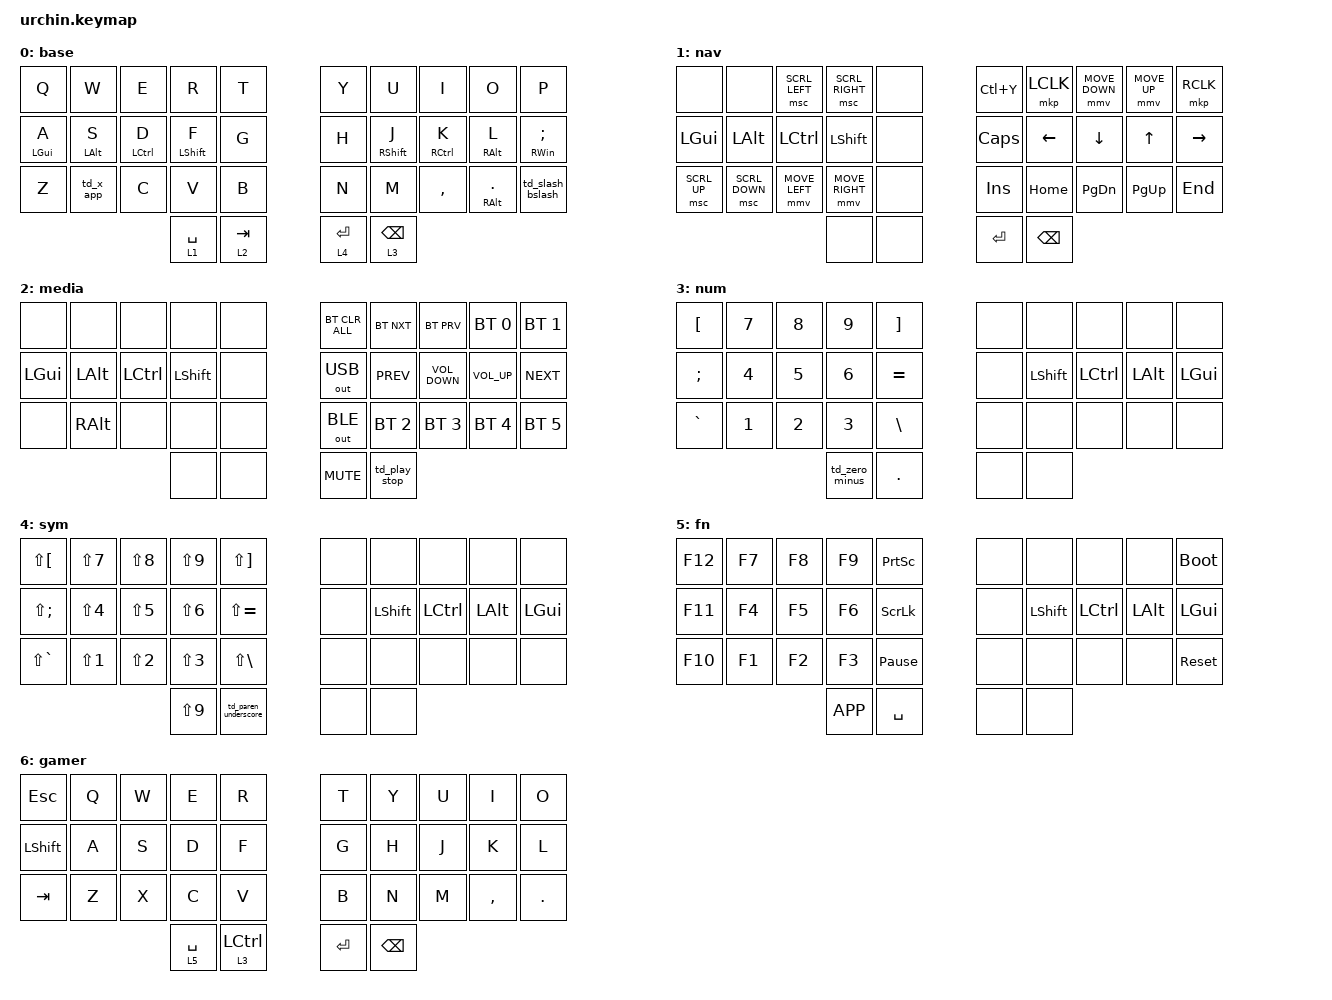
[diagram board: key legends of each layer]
/*
 * Copyright (c) 2020 The ZMK Contributors
 *
 * SPDX-License-Identifier: MIT
 */

#include <dt-bindings/zmk/mouse.h>

#define ZMK_POINTING_DEFAULT_MOVE_VAL 3300
#define ZMK_POINTING_DEFAULT_SCRL_VAL 30

#include <behaviors.dtsi>
#include <dt-bindings/zmk/bt.h>
#include <dt-bindings/zmk/keys.h>
#include <dt-bindings/zmk/outputs.h>
#include <dt-bindings/zmk/pointing.h>

&mt {
    flavor = "tap-preferred";
    tapping-term-ms = <200>;
};

&mmv {
    time-to-max-speed-ms = <70>;
    acceleration-exponent = <2>;
    delay-ms = <10>;
};

&sk { ignore-modifiers; };

/ {
    behaviors {
        hml: home_row_mod_left {
            compatible = "zmk,behavior-hold-tap";
            label = "HOMEROW_MODS_LEFT";
            #binding-cells = <2>;
            flavor = "balanced";
            hold-trigger-on-release;
            tapping-term-ms = <150>;
            quick-tap-ms = <90>;
            bindings = <&kp>, <&kp>;

            // same-hand keys only (left top row, other left mods, ZXCV,
            // left thumbs), so opposite-hand chords (the common case,
            // e.g. Ctrl + a right-hand letter) resolve immediately
            // instead of waiting on the safer deferred resolution

            hold-trigger-key-positions = <0 1 2 3 4 10 11 12 13 20 21 22 23 30 31>;
        };

        hmr: home_row_mod_right {
            compatible = "zmk,behavior-hold-tap";
            label = "HOMEROW_MODS_RIGHT";
            #binding-cells = <2>;
            flavor = "balanced";
            hold-trigger-on-release;
            tapping-term-ms = <150>;
            quick-tap-ms = <90>;
            bindings = <&kp>, <&kp>;

            // same-hand keys only (right top row, other right mods,
            // MCOMMADOT, right thumbs), so opposite-hand chords resolve
            // immediately instead of waiting on the safer deferred
            // resolution

            hold-trigger-key-positions = <5 6 7 8 9 15 16 17 18 19 25 26 27 28 29 32 33>;
        };

        td_x_app: td_x_app {
            compatible = "zmk,behavior-tap-dance";
            label = "TD_X_APP";
            #binding-cells = <0>;
            bindings = <&kp X>, <&kp K_APP>;

            tapping-term-ms = <175>;
        };

        td_slash_bslash: td_slash_bslash {
            compatible = "zmk,behavior-tap-dance";
            label = "TD_SLSH_BSLS";
            #binding-cells = <0>;
            bindings = <&kp SLASH>, <&kp NON_US_BACKSLASH>;

            tapping-term-ms = <175>;
        };

        td_play_stop: td_play_stop {
            compatible = "zmk,behavior-tap-dance";
            label = "TD_PLAY_STOP";
            #binding-cells = <0>;
            bindings = <&kp C_PLAY>, <&kp C_STOP>;

            tapping-term-ms = <300>;
        };

        td_zero_minus: td_zero_minus {
            compatible = "zmk,behavior-tap-dance";
            label = "TD_ZERO_MINUS";
            #binding-cells = <0>;
            bindings = <&kp NUMBER_0>, <&kp MINUS>;

            tapping-term-ms = <300>;
        };

        td_paren_underscore: td_paren_underscore {
            compatible = "zmk,behavior-tap-dance";
            label = "TD_PAREN_UNDERSCORE";
            #binding-cells = <0>;
            bindings = <&kp LS(NUMBER_0)>, <&kp LS(MINUS)>;

            tapping-term-ms = <300>;
        };

        td_gamer: td_gamer {
            compatible = "zmk,behavior-tap-dance";
            label = "TD_GAMER";
            #binding-cells = <0>;
            bindings = <&none>, <&tog 6>;

            tapping-term-ms = <250>;
        };
    };

    macros {
        m_quote: m_quote {
            compatible = "zmk,behavior-macro";
            #binding-cells = <0>;
            bindings = <&kp SINGLE_QUOTE>;
        };

        m_delete: m_delete {
            compatible = "zmk,behavior-macro";
            #binding-cells = <0>;
            bindings = <&kp DELETE>;
        };
    };

    combos {
        compatible = "zmk,combos";

        combo_esc {
            bindings = <&kp ESCAPE>;
            key-positions = <1 2>;
        };

        combo_quote {
            bindings = <&m_quote>;
            key-positions = <8 7>;
        };

        combo_delete {
            bindings = <&m_delete>;
            key-positions = <30 33>;
        };

        combo_fn {
            bindings = <&mo 5>;
            key-positions = <7 33>;
        };

        combo_gamer {
            bindings = <&td_gamer>;
            key-positions = <6 33>;
        };

        g_gamer {
            bindings = <&kp G>;
            key-positions = <30 20>;
            layers = <6>;
        };
    };

    keymap {
        compatible = "zmk,keymap";

        base {
            bindings = <
&kp Q            &kp W            &kp E                &kp R              &kp T      &kp Y        &kp U               &kp I                 &kp O              &kp P
&hml LEFT_GUI A  &hml LEFT_ALT S  &hml LEFT_CONTROL D  &hml LEFT_SHIFT F  &kp G      &kp H        &hmr RIGHT_SHIFT J  &hmr RIGHT_CONTROL K  &hmr RIGHT_ALT L   &hmr RIGHT_WIN SEMICOLON
&kp Z            &td_x_app        &kp C                &kp V              &kp B      &kp N        &kp M               &kp COMMA             &mt RIGHT_ALT DOT  &td_slash_bslash
                                                       &lt 1 SPACE        &lt 2 TAB  &lt 4 ENTER  &lt 3 BACKSPACE
            >;
        };

        nav {
            bindings = <
&none         &none           &msc SCRL_LEFT    &msc SCRL_RIGHT  &none  &kp LC(Y)   &mkp LCLK      &mmv MOVE_DOWN  &mmv MOVE_UP  &mkp RCLK
&kp LEFT_GUI  &kp LEFT_ALT    &kp LEFT_CONTROL  &kp LEFT_SHIFT   &none  &kp CAPS    &kp LEFT       &kp DOWN        &kp UP        &kp RIGHT
&msc SCRL_UP  &msc SCRL_DOWN  &mmv MOVE_LEFT    &mmv MOVE_RIGHT  &none  &kp INSERT  &kp HOME       &kp PAGE_DOWN   &kp PAGE_UP   &kp END
                                                &none            &none  &kp ENTER   &kp BACKSPACE
            >;
        };

        media {
            bindings = <
&none         &none          &none             &none           &none  &bt BT_CLR_ALL  &bt BT_NXT     &bt BT_PRV         &bt BT_SEL 0     &bt BT_SEL 1
&kp LEFT_GUI  &kp LEFT_ALT   &kp LEFT_CONTROL  &kp LEFT_SHIFT  &none  &out OUT_USB    &kp C_PREV     &kp C_VOLUME_DOWN  &kp C_VOLUME_UP  &kp C_NEXT
&none         &kp RIGHT_ALT  &none             &none           &none  &out OUT_BLE    &bt BT_SEL 2   &bt BT_SEL 3       &bt BT_SEL 4     &bt BT_SEL 5
                                               &none           &none  &kp C_MUTE      &td_play_stop
            >;
        };

        num {
            bindings = <
&kp LEFT_BRACKET  &kp NUMBER_7  &kp NUMBER_8  &kp NUMBER_9    &kp RIGHT_BRACKET  &none  &none           &none             &none         &none
&kp SEMICOLON     &kp NUMBER_4  &kp NUMBER_5  &kp NUMBER_6    &kp EQUAL          &none  &kp LEFT_SHIFT  &kp LEFT_CONTROL  &kp LEFT_ALT  &kp LEFT_GUI
&kp GRAVE         &kp NUMBER_1  &kp NUMBER_2  &kp NUMBER_3    &kp BACKSLASH      &none  &none           &none             &none         &none
                                              &td_zero_minus  &kp DOT            &none  &none
            >;
        };

        sym {
            bindings = <
&kp LS(LEFT_BRACKET)  &kp LS(NUMBER_7)  &kp LS(NUMBER_8)  &kp LS(NUMBER_9)  &kp LS(RIGHT_BRACKET)  &none  &none           &none             &none         &none
&kp LS(SEMICOLON)     &kp LS(NUMBER_4)  &kp LS(NUMBER_5)  &kp LS(NUMBER_6)  &kp LS(EQUAL)          &none  &kp LEFT_SHIFT  &kp LEFT_CONTROL  &kp LEFT_ALT  &kp LEFT_GUI
&kp LS(GRAVE)         &kp LS(NUMBER_1)  &kp LS(NUMBER_2)  &kp LS(NUMBER_3)  &kp LS(BACKSLASH)      &none  &none           &none             &none         &none
                                                          &kp LS(NUMBER_9)  &td_paren_underscore   &none  &none
            >;
        };

        fn {
            bindings = <
&kp F12  &kp F7  &kp F8  &kp F9     &kp PRINTSCREEN  &none  &none           &none             &none         &bootloader
&kp F11  &kp F4  &kp F5  &kp F6     &kp SCROLLLOCK   &none  &kp LEFT_SHIFT  &kp LEFT_CONTROL  &kp LEFT_ALT  &kp LEFT_GUI
&kp F10  &kp F1  &kp F2  &kp F3     &kp PAUSE_BREAK  &none  &none           &none             &none         &sys_reset
                         &kp K_APP  &kp SPACE        &none  &none
            >;
        };

        gamer {
            bindings = <
&kp ESCAPE      &kp Q  &kp W  &kp E        &kp R               &kp T      &kp Y          &kp U  &kp I      &kp O
&kp LEFT_SHIFT  &kp A  &kp S  &kp D        &kp F               &kp G      &kp H          &kp J  &kp K      &kp L
&kp TAB         &kp Z  &kp X  &kp C        &kp V               &kp B      &kp N          &kp M  &kp COMMA  &kp DOT
                              &lt 5 SPACE  &lt 3 LEFT_CONTROL  &kp ENTER  &kp BACKSPACE
            >;
        };
    };
};
